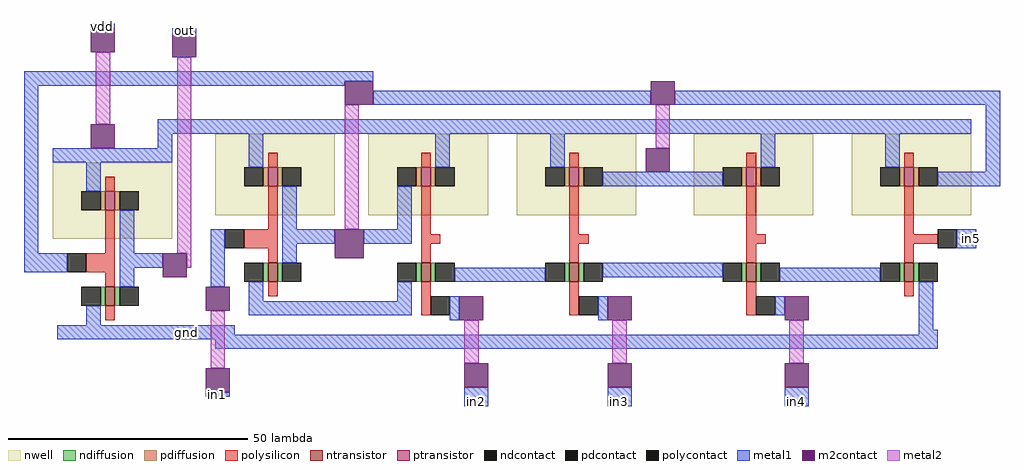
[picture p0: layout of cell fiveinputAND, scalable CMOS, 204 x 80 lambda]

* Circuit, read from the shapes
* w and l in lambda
.subckt fiveinputAND gnd in1 in2 in3 in4 in5 out vdd
M1 out not_0/in gnd VSUBS nfet w=4 l=2
M2 not_0/in in1 n1 VSUBS nfet w=4 l=2
M3 n2 in2 n1 VSUBS nfet w=4 l=2
M4 n3 in3 n2 VSUBS nfet w=4 l=2
M5 n4 in4 n3 VSUBS nfet w=4 l=2
M6 gnd in5 n4 VSUBS nfet w=4 l=2
M7 out not_0/in vdd n5 pfet w=4 l=2
M8 not_0/in in1 vdd n6 pfet w=4 l=2
M9 vdd in2 not_0/in n7 pfet w=4 l=2
M10 not_0/in in3 vdd n8 pfet w=4 l=2
M11 vdd in4 not_0/in n9 pfet w=4 l=2
M12 not_0/in in5 vdd n10 pfet w=4 l=2
.ends

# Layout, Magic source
magic
tech scmos
<< metal1 >>
rect -25 66 -20 67
rect -8 65 -3 66
rect -39 56 28 57
rect -39 55 32 56
rect -39 54 28 55
rect -39 19 -36 54
rect -11 44 1 47
rect -11 41 -8 44
rect -39 15 -32 19
rect -11 16 -10 19
rect 0 12 3 24
rect 158 20 160 24
rect -8 2 5 4
rect -8 1 2 2
rect -1 -11 4 -10
rect 53 -13 58 -11
rect 83 -13 88 -11
rect 120 -13 125 -11
<< m2contact >>
rect -25 61 -20 66
rect -8 60 -3 65
rect -25 41 -20 46
rect -10 14 -5 19
rect -1 7 4 12
rect -1 -10 4 -5
<< metal2 >>
rect -24 46 -21 61
rect -7 19 -4 60
rect -5 16 -4 19
rect 0 -5 3 7
use not  not_0
transform 1 0 -33 0 1 22
box 0 -21 25 19
use fiveinputNAND  fiveinputNAND_0
transform 1 0 1 0 1 27
box -1 -38 164 30
<< labels >>
rlabel metal1 83 -13 88 -11 1 in3
rlabel metal1 120 -13 125 -11 1 in4
rlabel metal1 158 20 160 24 1 in5
rlabel metal1 -8 1 -2 4 1 gnd
rlabel metal1 53 -13 58 -11 1 in2
rlabel metal1 -25 66 -20 67 5 vdd
rlabel metal1 -8 65 -3 66 5 out
rlabel metal1 -1 -11 4 -10 1 in1
<< end >>

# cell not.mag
magic
tech scmos
<< nwell >>
rect 0 0 25 16
<< ntransistor >>
rect 11 -14 13 -10
<< ptransistor >>
rect 11 6 13 10
<< ndiffusion >>
rect 10 -14 11 -10
rect 13 -14 14 -10
<< pdiffusion >>
rect 10 6 11 10
rect 13 6 14 10
<< ndcontact >>
rect 6 -14 10 -10
rect 14 -14 18 -10
<< pdcontact >>
rect 6 6 10 10
rect 14 6 18 10
<< polysilicon >>
rect 11 10 13 13
rect 11 -3 13 6
rect 7 -7 13 -3
rect 11 -10 13 -7
rect 11 -17 13 -14
<< polycontact >>
rect 3 -7 7 -3
<< metal1 >>
rect 0 16 25 19
rect 7 10 10 16
rect 14 -3 17 6
rect 1 -7 3 -3
rect 14 -6 22 -3
rect 14 -10 17 -6
rect 7 -18 10 -14
rect 1 -21 25 -18
<< labels >>
rlabel metal1 0 16 25 19 5 vdd
rlabel metal1 17 -6 22 -3 1 out
rlabel metal1 1 -7 3 -3 3 in
rlabel metal1 1 -21 25 -18 1 gnd
<< end >>

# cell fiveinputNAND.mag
magic
tech scmos
<< nwell >>
rect 0 0 25 17
rect 32 0 57 17
rect 63 0 88 17
rect 100 0 125 17
rect 133 0 158 17
<< ntransistor >>
rect 11 -14 13 -10
rect 43 -14 45 -10
rect 74 -14 76 -10
rect 111 -14 113 -10
rect 144 -14 146 -10
<< ptransistor >>
rect 11 6 13 10
rect 43 6 45 10
rect 74 6 76 10
rect 111 6 113 10
rect 144 6 146 10
<< ndiffusion >>
rect 10 -14 11 -10
rect 13 -14 14 -10
rect 42 -14 43 -10
rect 45 -14 46 -10
rect 73 -14 74 -10
rect 76 -14 77 -10
rect 110 -14 111 -10
rect 113 -14 114 -10
rect 143 -14 144 -10
rect 146 -14 147 -10
<< pdiffusion >>
rect 10 6 11 10
rect 13 6 14 10
rect 42 6 43 10
rect 45 6 46 10
rect 73 6 74 10
rect 76 6 77 10
rect 110 6 111 10
rect 113 6 114 10
rect 143 6 144 10
rect 146 6 147 10
<< ndcontact >>
rect 6 -14 10 -10
rect 14 -14 18 -10
rect 38 -14 42 -10
rect 46 -14 50 -10
rect 69 -14 73 -10
rect 77 -14 81 -10
rect 106 -14 110 -10
rect 114 -14 118 -10
rect 139 -14 143 -10
rect 147 -14 151 -10
<< pdcontact >>
rect 6 6 10 10
rect 14 6 18 10
rect 38 6 42 10
rect 46 6 50 10
rect 69 6 73 10
rect 77 6 81 10
rect 106 6 110 10
rect 114 6 118 10
rect 139 6 143 10
rect 147 6 151 10
<< polysilicon >>
rect 11 10 13 13
rect 43 10 45 13
rect 74 10 76 13
rect 111 10 113 13
rect 144 10 146 13
rect 11 -3 13 6
rect 6 -7 13 -3
rect 11 -10 13 -7
rect 43 -4 45 6
rect 74 -4 76 6
rect 111 -4 113 6
rect 144 -4 146 6
rect 43 -6 47 -4
rect 74 -6 78 -4
rect 111 -6 115 -4
rect 144 -6 151 -4
rect 43 -10 45 -6
rect 74 -10 76 -6
rect 111 -10 113 -6
rect 144 -10 146 -6
rect 11 -17 13 -14
rect 43 -21 45 -14
rect 74 -21 76 -14
rect 111 -21 113 -14
rect 144 -17 146 -14
<< polycontact >>
rect 2 -7 6 -3
rect 151 -7 155 -3
rect 45 -21 49 -17
rect 76 -21 80 -17
rect 113 -21 117 -17
<< metal1 >>
rect 27 28 33 30
rect 33 23 91 26
rect 96 23 164 26
rect 0 17 158 20
rect 7 10 10 17
rect 46 10 49 17
rect 70 10 73 17
rect 114 10 117 17
rect 140 10 143 17
rect 81 6 106 9
rect 161 9 164 23
rect 151 6 164 9
rect 14 -3 17 6
rect 38 -3 41 6
rect -1 -7 2 -3
rect 14 -6 25 -3
rect 14 -10 17 -6
rect 31 -6 41 -3
rect 155 -7 157 -3
rect 50 -14 69 -11
rect 81 -13 106 -10
rect 118 -14 139 -11
rect 7 -18 10 -14
rect 38 -18 41 -14
rect 7 -21 41 -18
rect 49 -22 51 -17
rect 80 -22 82 -17
rect 117 -21 119 -17
rect 147 -24 150 -14
rect 147 -25 151 -24
rect 0 -28 151 -25
rect 52 -38 57 -36
rect 82 -38 87 -36
rect 119 -38 124 -36
<< m2contact >>
rect 27 23 33 28
rect 91 23 96 28
rect 90 9 95 14
rect 25 -9 31 -3
rect 51 -22 56 -17
rect 82 -22 87 -17
rect 119 -22 124 -17
rect 52 -36 57 -31
rect 82 -36 87 -31
rect 119 -36 124 -31
<< metal2 >>
rect 27 -3 30 23
rect 92 14 95 23
rect 52 -31 55 -22
rect 83 -31 86 -22
rect 120 -31 123 -22
<< labels >>
rlabel metal1 0 -7 2 -3 3 in1
rlabel metal1 155 -7 157 -3 7 in5
rlabel metal1 0 -28 151 -25 1 gnd
rlabel metal1 52 -38 57 -36 1 in2
rlabel metal1 82 -38 87 -36 1 in3
rlabel metal1 119 -38 124 -36 1 in4
rlabel metal1 27 28 33 30 5 out
rlabel metal1 0 17 158 20 1 vdd
<< end >>
